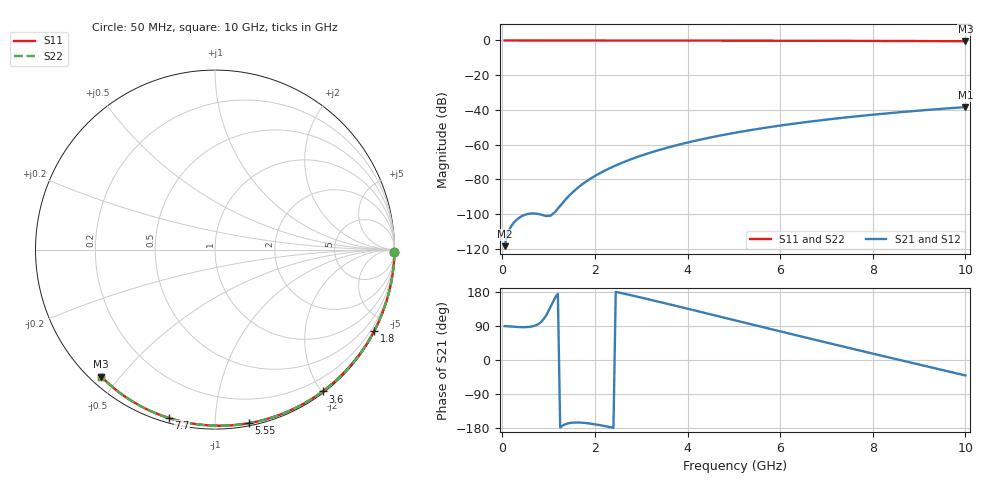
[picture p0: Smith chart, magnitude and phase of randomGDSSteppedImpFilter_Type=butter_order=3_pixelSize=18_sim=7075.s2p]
! freq	dB(S11)	phase(S11)	dB(S12)	phase(S12)
!  dB(S21)	phase(S21)	dB(S22)	phase(S22)
!S-par simulation data
#  GHz  S  DB  R 50
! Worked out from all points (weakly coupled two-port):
!   200 points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, 50 MHz to 10 GHz, reference 50 ohm
!   highest |S21| = -38.40 dB at 10 GHz (marker M1); lowest = -118.5 dB at 50 MHz (marker M2)
!   lowest |S11| = -0.4 dB at 10 GHz (marker M3), VSWR 38.88, Z = 1.54 - j22.3 ohm
!   |S11| at or under -10 dB: nowhere
!   |S22| runs from -0.4 to 0.0 dB; largest |S21 - S12| = 0
!   S11 on the Smith chart (normalised r, x): 50 MHz: open; 1.8 GHz: 0.04, -4.16; 3.6 GHz: 0.02, -2.01; 5.55 GHz: 0.02, -1.21; 7.7 GHz: 0.02, -0.76; 10 GHz: 0.03, -0.45
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0.05  -0.00 -0.8  -118.48 89.5  -118.48 89.5  -0.00 -0.8
0.9  -0.02 -13.6  -100.83 109.2  -100.83 109.2  -0.02 -13.6
1.75  -0.03 -26.3  -82.39 -165.7  -82.39 -165.7  -0.03 -26.3
1.8  -0.03 -27.0  -81.44 -166.3  -81.44 -166.3  -0.03 -27.0
1.85  -0.04 -27.8  -80.55 -167.0  -80.55 -167.0  -0.04 -27.8
1.9  -0.04 -28.5  -79.68 -167.8  -79.68 -167.8  -0.04 -28.5
2.05  -0.04 -30.7  -77.29 -170.7  -77.29 -170.7  -0.04 -30.7
2.25  -0.04 -33.6  -74.47 -175.2  -74.47 -175.2  -0.04 -33.6
2.45  -0.05 -36.5  -71.98 179.8  -71.98 179.8  -0.05 -36.5
2.65  -0.05 -39.4  -69.75 174.5  -69.75 174.5  -0.05 -39.4
3  -0.06 -44.4  -66.33 164.7  -66.33 164.7  -0.06 -44.4
3.4  -0.07 -50.0  -62.98 153.1  -62.98 153.1  -0.07 -50.0
3.6  -0.07 -52.8  -61.49 147.3  -61.49 147.3  -0.07 -52.8
4.3  -0.09 -62.4  -56.97 126.4  -56.97 126.4  -0.09 -62.4
5.05  -0.11 -72.4  -53.05 104.0  -53.05 104.0  -0.11 -72.4
5.55  -0.13 -78.9  -50.82 89.0  -50.82 89.0  -0.13 -78.9
6.1  -0.15 -85.9  -48.64 72.6  -48.64 72.6  -0.15 -85.9
6.7  -0.18 -93.3  -46.54 54.8  -46.54 54.8  -0.18 -93.3
7.7  -0.24 -105.4  -43.56 25.5  -43.56 25.5  -0.24 -105.4
8.35  -0.29 -113.0  -41.89 6.7  -41.89 6.7  -0.29 -113.0
9.15  -0.36 -122.2  -40.07 -16.3  -40.07 -16.3  -0.36 -122.2
10  -0.45 -131.8  -38.40 -40.8  -38.40 -40.8  -0.45 -131.8
